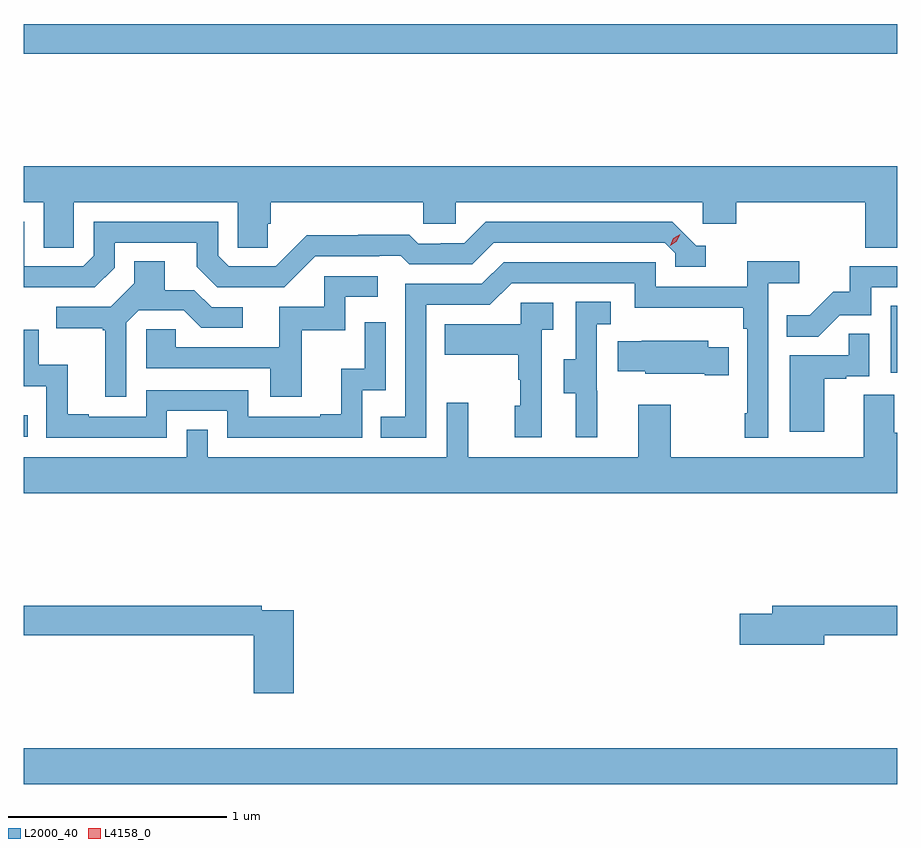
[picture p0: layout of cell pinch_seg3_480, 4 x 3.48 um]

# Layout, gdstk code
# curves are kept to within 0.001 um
import gdstk
lib = gdstk.Library(unit=1e-6, precision=1e-09)
def R(c, l, rs):  # rectangles x0, y0, x1, y1
    for r in rs: c.add(gdstk.rectangle(r[:2], r[2:], *l))
def P(c, l, *ps):  # polygons
    for p in ps: c.add(gdstk.Polygon(p, *l))
L2000_40 = (2000, 40)
L4158_0 = (4158, 0)

pinch_seg3_480 = lib.new_cell('pinch_seg3_480')
R(pinch_seg3_480, L2000_40, [(1011.208,682.268,1015.208,682.432), (1011.208,683.859,1011.227,683.956), (1015.178,684.15,1015.208,684.457), (1011.208,685.612,1015.208,685.748)])
P(pinch_seg3_480, L2000_40, [(1011.438,684.932),(1012.188,684.932),(1012.188,684.724),(1012.325,684.724),(1012.325,684.834),(1012.34,684.834),(1012.34,684.932),(1013.037,684.932),(1013.037,684.834),(1013.187,684.834),(1013.187,684.932),(1014.318,684.932),(1014.318,684.834),(1014.47,684.834),(1014.47,684.932),(1015.061,684.932),(1015.061,684.724),(1015.208,684.724),(1015.208,685.096),(1011.208,685.096),(1011.208,684.932),(1011.299,684.932),(1011.299,684.724),(1011.438,684.724)],
  [(1011.318,684.543),(1011.534,684.543),(1011.624,684.633),(1011.624,684.747),(1012.001,684.747),(1012.001,684.637),(1012.095,684.543),(1012.401,684.543),(1012.542,684.684),(1012.835,684.684),(1012.835,684.687),(1012.934,684.687),(1012.973,684.648),(1013.262,684.648),(1013.361,684.747),(1014.144,684.747),(1014.192,684.699),(1014.192,684.636),(1014.331,684.636),(1014.331,684.732),(1014.288,684.732),(1014.177,684.843),(1013.324,684.843),(1013.225,684.744),(1013.118,684.744),(1013.118,684.741),(1013.015,684.741),(1012.973,684.784),(1012.74,684.784),(1012.74,684.781),(1012.504,684.781),(1012.362,684.639),(1012.146,684.639),(1012.098,684.687),(1012.098,684.843),(1011.528,684.843),(1011.528,684.687),(1011.48,684.639),(1011.21,684.639),(1011.21,684.843),(1011.208,684.843),(1011.208,684.542)],
  [(1013.052,684.462),(1013.343,684.462),(1013.442,684.561),(1014.006,684.561),(1014.006,684.449),(1014.502,684.449),(1014.502,684.353),(1014.522,684.353),(1014.522,683.965),(1014.51,683.965),(1014.51,683.853),(1014.618,683.853),(1014.618,684.56),(1014.76,684.56),(1014.76,684.662),(1014.521,684.662),(1014.521,684.546),(1014.102,684.546),(1014.102,684.657),(1013.405,684.657),(1013.306,684.558),(1012.956,684.558),(1012.956,683.949),(1012.843,683.949),(1012.843,683.853),(1013.052,683.853)],
  [(1011.678,684.381),(1011.735,684.438),(1011.941,684.438),(1012.022,684.357),(1012.21,684.357),(1012.21,684.45),(1012.068,684.45),(1011.988,684.53),(1011.853,684.53),(1011.853,684.662),(1011.713,684.662),(1011.713,684.56),(1011.606,684.453),(1011.357,684.453),(1011.357,684.356),(1011.57,684.356),(1011.57,684.345),(1011.581,684.345),(1011.581,684.042),(1011.678,684.042)],
  [(1014.945,684.414),(1015.089,684.414),(1015.089,684.543),(1015.208,684.543),(1015.208,684.639),(1014.991,684.639),(1014.991,684.522),(1014.914,684.522),(1014.807,684.415),(1014.703,684.415),(1014.703,684.316),(1014.847,684.316)],
  [(1012.481,684.345),(1012.68,684.345),(1012.68,684.498),(1012.828,684.498),(1012.828,684.594),(1012.584,684.594),(1012.584,684.453),(1012.379,684.453),(1012.379,684.267),(1011.905,684.267),(1011.905,684.351),(1011.768,684.351),(1011.768,684.171),(1012.337,684.171),(1012.337,684.042),(1012.481,684.042)],
  [(1013.834,684.069),(1013.832,684.069),(1013.832,684.373),(1013.896,684.373),(1013.896,684.476),(1013.736,684.476),(1013.736,684.213),(1013.681,684.213),(1013.681,684.058),(1013.735,684.058),(1013.735,683.856),(1013.834,683.856)],
  [(1013.58,684.347),(1013.632,684.347),(1013.632,684.471),(1013.484,684.471),(1013.484,684.373),(1013.137,684.373),(1013.137,684.233),(1013.472,684.233),(1013.472,684.119),(1013.482,684.119),(1013.482,684),(1013.456,684),(1013.456,683.856),(1013.58,683.856)],
  [(1011.864,683.976),(1012.14,683.976),(1012.14,683.853),(1012.758,683.853),(1012.758,684.072),(1012.866,684.072),(1012.866,684.382),(1012.77,684.382),(1012.77,684.17),(1012.661,684.17),(1012.661,683.962),(1012.565,683.962),(1012.565,683.949),(1012.236,683.949),(1012.236,684.072),(1011.768,684.072),(1011.768,683.949),(1011.505,683.949),(1011.505,683.962),(1011.409,683.962),(1011.409,684.187),(1011.276,684.187),(1011.276,684.348),(1011.208,684.348),(1011.208,684.089),(1011.312,684.089),(1011.312,683.853),(1011.864,683.853)],
  [(1014.874,684.123),(1014.974,684.123),(1014.974,684.135),(1015.08,684.135),(1015.08,684.329),(1014.985,684.329),(1014.985,684.231),(1014.716,684.231),(1014.716,683.88),(1014.874,683.88)],
  [(1014.437,684.268),(1014.343,684.268),(1014.343,684.298),(1014.037,684.298),(1014.037,684.295),(1013.929,684.295),(1013.929,684.158),(1014.054,684.158),(1014.054,684.146),(1014.326,684.146),(1014.326,684.139),(1014.437,684.139)],
  [(1015.208,683.876),(1015.195,683.876),(1015.195,684.05),(1015.055,684.05),(1015.055,683.764),(1014.171,683.764),(1014.171,684.004),(1014.023,684.004),(1014.023,683.764),(1013.243,683.764),(1013.243,684.013),(1013.145,684.013),(1013.145,683.764),(1012.05,683.764),(1012.05,683.891),(1011.954,683.891),(1011.954,683.764),(1011.208,683.764),(1011.208,683.6),(1015.208,683.6)],
  [(1014.874,682.948),(1015.208,682.948),(1015.208,683.084),(1014.635,683.084),(1014.635,683.048),(1014.486,683.048),(1014.486,682.906),(1014.874,682.906)],
  [(1012.445,683.064),(1012.298,683.064),(1012.298,683.084),(1011.208,683.084),(1011.208,682.948),(1012.262,682.948),(1012.262,682.683),(1012.445,682.683)])
P(pinch_seg3_480, L4158_0, [(1014.168,684.733),(1014.168,684.733),(1014.183,684.766),(1014.214,684.786),(1014.214,684.786),(1014.214,684.786),(1014.198,684.753),(1014.168,684.733)])

lib.write_gds('pinch_seg3_480.gds')
